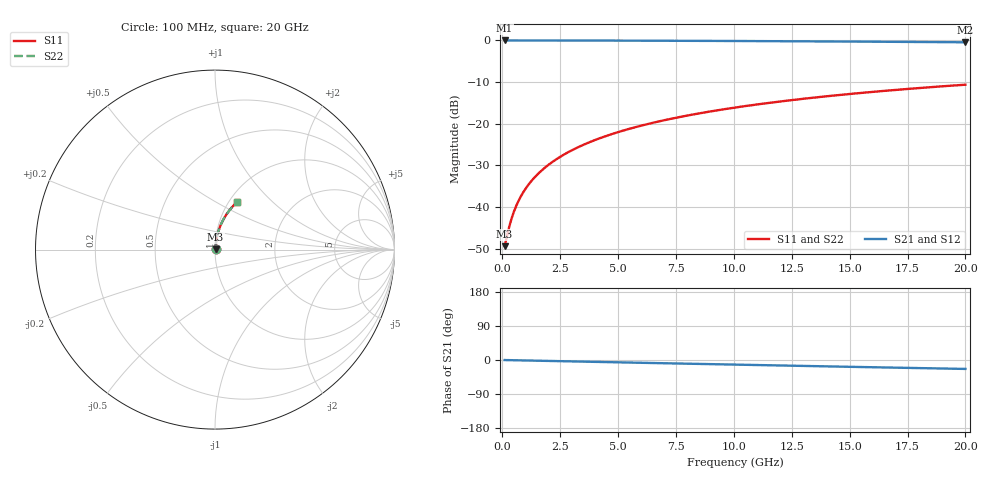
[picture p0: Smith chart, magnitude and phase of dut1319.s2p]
! Touchstone file exported from HFSS 2026.1.0
!  File:  C:/ffzhzh/LocalFiles/Ansys_Project_Files/temp_train_TMRDL_1319_1783165005_18472.aedt
!  Generated:  07:38:07 PM Jul  4, 2026
!  Design:  TMRDL
!  Project:  temp_train_TMRDL_1319_1783165005_18472
! Variables:
!  h_bsmrdl = 2um
!  h_ox = 20um
!  h_rdl = 5um
!  h_sub = 80um
!  h_tmrdl = 2.79um
!  h_tsv = 80um
!  h_via = 3um
!  l_bsmrdl = 300um
!  l_sub = 659.57um
!  l_tmrdl = 259.57um
!  m_sub = 200um
!  pitch = 45.76um
!  r_tsv = 6um
!  s_tmrdl = 10um
!  w_bsmrdl = 18um
!  w_sub = 500um
!  w_tmrdl = 11.81um
!  x_tsv_center1 = 265.475um
!  x_tsv_center2 = 583.475um
!  x_tsv_center3 = 854.855um
!  x_tsv_center4 = 1172.855um
!  x_tsv_center5 = 1444.235um
!  x_tsv_center6 = 1762.235um
# GHz S MA R 50.000000
! Terminal data exported
! Port[1] = TM_RDL1_1_T1
! Port[2] = TM_RDL1_1_T2
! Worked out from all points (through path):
!   200 points, 100 MHz to 20 GHz, reference 50 ohm
!   highest |S21| = -0.03 dB at 100 MHz (marker M1); lowest = -0.5 dB at 20 GHz (marker M2)
!   group delay of S21, straight-line fit = 3.28 ps
!   lowest |S11| = -49.4 dB at 100 MHz (marker M3), VSWR 1.01, Z = 50.3 + j0.166 ohm
!   |S11| at or under -10 dB: start of sweep to end of sweep
!   |S22| runs from -49.4 to -10.6 dB; largest |S21 - S12| = 3.1e-15
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0.1  0.003393 29.1  0.997 -0.1  0.997 -0.1  0.003393 29.1
! Gamma 0 0 0 0
! Port Impedance 50 0 50 0
0.3  0.005802 58.3  0.997 -0.4  0.997 -0.4  0.005802 58.3
0.4  0.007262 64.6  0.9969 -0.5  0.9969 -0.5  0.007262 64.6
0.5  0.008772 68.6  0.9969 -0.6  0.9969 -0.6  0.008772 68.6
0.6  0.01031 71.4  0.9968 -0.8  0.9968 -0.8  0.01031 71.4
0.7  0.01185 73.5  0.9967 -0.9  0.9967 -0.9  0.01185 73.5
0.9  0.01496 76.2  0.9966 -1.1  0.9966 -1.1  0.01496 76.2
1.2  0.01964 78.7  0.9965 -1.5  0.9965 -1.5  0.01964 78.7
1.4  0.02277 79.7  0.9963 -1.7  0.9963 -1.7  0.02277 79.7
1.7  0.02747 80.7  0.9962 -2.1  0.9962 -2.1  0.02747 80.6
2.2  0.03533 81.5  0.9958 -2.7  0.9958 -2.7  0.03533 81.5
2.8  0.04477 81.9  0.9954 -3.5  0.9954 -3.5  0.04477 81.9
3.5  0.05578 81.8  0.9947 -4.3  0.9947 -4.3  0.05578 81.8
4.2  0.06676 81.5  0.9939 -5.2  0.9939 -5.2  0.06676 81.5
5  0.07925 80.9  0.9928 -6.1  0.9928 -6.1  0.07925 80.9
5.9  0.09322 80.1  0.9914 -7.2  0.9914 -7.2  0.09322 80.1
6.8  0.1071 79.3  0.9897 -8.3  0.9897 -8.3  0.1071 79.2
8.3  0.13 77.7  0.9866 -10.1  0.9866 -10.1  0.13 77.7
10.1  0.1569 75.7  0.9822 -12.3  0.9822 -12.3  0.1569 75.7
13.4  0.2048 72.1  0.9725 -16.1  0.9725 -16.1  0.2048 72.1
16.7  0.2504 68.5  0.961 -19.9  0.961 -19.9  0.2504 68.4
20  0.2937 64.9  0.948 -23.6  0.948 -23.6  0.2937 64.9
